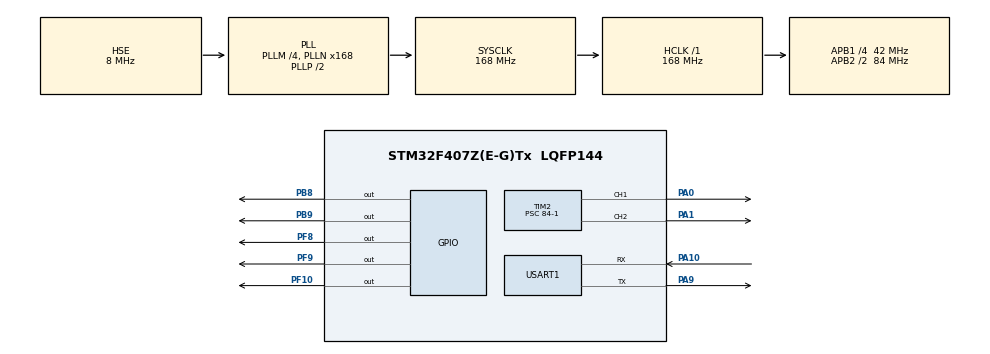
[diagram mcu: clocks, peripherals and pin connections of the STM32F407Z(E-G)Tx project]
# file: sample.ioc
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Mcu.Family=STM32F4
Mcu.Name=STM32F407Z(E-G)Tx
Mcu.Package=LQFP144
NVIC.PriorityGroup=NVIC_PRIORITYGROUP_4
NVIC.TIM3_IRQn=true\:0\:0\:true\:false\:true\:false\:true\:true\:true
NVIC.TIM4_IRQn=true\:15\:0\:false\:false\:true\:false\:false\:true\:true
NVIC.TimeBase=TIM4_IRQn
NVIC.TimeBaseIP=TIM4
NVIC.USART1_IRQn=true\:0\:0\:false\:false\:true\:false\:true\:true\:true
PA0-WKUP.Signal=S_TIM2_CH1_ETR
PA1.Signal=S_TIM2_CH2
PA10.Mode=Asynchronous
PA10.Signal=USART1_RX
PA13.Mode=Serial_Wire
PA13.Signal=SYS_JTMS-SWDIO
PA14.Mode=Serial_Wire
PA14.Signal=SYS_JTCK-SWCLK
PA9.Mode=Asynchronous
PA9.Signal=USART1_TX
PB8.Signal=GPIO_Output
PB9.Signal=GPIO_Output
PF10.Signal=GPIO_Output
PF8.Signal=GPIO_Output
PF9.Signal=GPIO_Output
PH0-OSC_IN.Mode=HSE-External-Oscillator
PH0-OSC_IN.Signal=RCC_OSC_IN
PH1-OSC_OUT.Mode=HSE-External-Oscillator
PH1-OSC_OUT.Signal=RCC_OSC_OUT
ProjectManager.HeapSize=0x200
ProjectManager.StackSize=0x400
ProjectManager.TargetToolchain=MDK-ARM V5.32
RCC.48MHZClocksFreq_Value=84000000
RCC.AHBFreq_Value=168000000
RCC.APB1CLKDivider=RCC_HCLK_DIV4
RCC.APB1Freq_Value=42000000
RCC.APB1TimFreq_Value=84000000
RCC.APB2CLKDivider=RCC_HCLK_DIV2
RCC.APB2Freq_Value=84000000
RCC.APB2TimFreq_Value=168000000
RCC.CortexFreq_Value=168000000
RCC.HCLKFreq_Value=168000000
RCC.HSE_VALUE=8000000
RCC.HSI_VALUE=16000000
RCC.LSE_VALUE=32768
RCC.PLLM=4
RCC.PLLN=168
RCC.PLLSourceVirtual=RCC_PLLSOURCE_HSE
RCC.SYSCLKFreq_VALUE=168000000
RCC.SYSCLKSource=RCC_SYSCLKSOURCE_PLLCLK
RCC.VCOOutputFreq_Value=336000000
RealThread.RT-Thread.3.1.5.RTOSJjkernel=true
RealThread.RT-Thread.3.1.5.RT_CONSOLEBUF_SIZE=160
RealThread.RT-Thread.3.1.5.RT_MAIN_THREAD_STACK_SIZE=2048
RealThread.RT-Thread.3.1.5.RT_NAME_MAX=16
RealThread.RT-Thread.3.1.5.RT_TIMER_THREAD_STACK_SIZE=1024
RealThread.RT-Thread.3.1.5.RT_USING_EVENT=1
RealThread.RT-Thread.3.1.5.RT_USING_HEAP=0
RealThread.RT-Thread.3.1.5.RT_USING_IDLE_HOOK=0
RealThread.RT-Thread.3.1.5.RT_USING_MAILBOX=1
RealThread.RT-Thread.3.1.5.RT_USING_MESSAGEQUEUE=1
RealThread.RT-Thread.3.1.5.RT_USING_MUTEX=1
RealThread.RT-Thread.3.1.5.RT_USING_SMALL_MEM=0
RealThread.RT-Thread.3.1.5.RT_USING_TINY_SIZE=0
SH.S_TIM2_CH1_ETR.0=TIM2_CH1,PWM Generation1 CH1
SH.S_TIM2_CH2.0=TIM2_CH2,PWM Generation2 CH2
TIM2.AutoReloadPreload=TIM_AUTORELOAD_PRELOAD_ENABLE
TIM2.Channel-PWM\ Generation1\ CH1=TIM_CHANNEL_1
TIM2.Channel-PWM\ Generation2\ CH2=TIM_CHANNEL_2
TIM2.Period=20000-1
TIM2.Prescaler=84-1
TIM3.AutoReloadPreload=TIM_AUTORELOAD_PRELOAD_ENABLE
TIM3.Period=10000-1
TIM3.Prescaler=168-1
USART1.VirtualMode=VM_ASYNC
VP_RealThread.RT-Thread_VS_RTOSJjkernel_3.1.5_3.1.5.Mode=RTOSJjkernel
VP_SYS_VS_tim4.Mode=TIM4
VP_TIM2_VS_ClockSourceINT.Mode=Internal
VP_TIM3_VS_ClockSourceINT.Mode=Internal
board=custom

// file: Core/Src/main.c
/* USER CODE BEGIN Header */
/**
  ******************************************************************************
  * @file           : main.c
  * @brief          : Main program body
  ******************************************************************************
  * @attention
  *
  * Copyright (c) 2024 STMicroelectronics.
  * All rights reserved.
  *
  * This software is licensed under terms that can be found in the LICENSE file
  * in the root directory of this software component.
  * If no LICENSE file comes with this software, it is provided AS-IS.
  *
  ******************************************************************************
  */
/* USER CODE END Header */
#include "main.h"
#include "tim.h"
#include "usart.h"
#include "gpio.h"

/* USER CODE BEGIN Includes */
#include "rtthread.h"
/* USER CODE END Includes */

void SystemClock_Config(void);

/* USER CODE BEGIN 0 */
uint8_t cmd;
uint8_t send_cmd;
/* USER CODE END 0 */

int main(void)
{

  /* MCU Configuration--------------------------------------------------------*/

  /* Reset of all peripherals, Initializes the Flash interface and the Systick. */
  HAL_Init();

  /* Configure the system clock */
  SystemClock_Config();

  /* Initialize all configured peripherals */
  MX_GPIO_Init();
  MX_USART1_UART_Init();
  MX_TIM2_Init();
  MX_TIM3_Init();
  /* USER CODE BEGIN 2 */
    APP_init();
    APPLY();
  /* USER CODE END 2 */

  /* Infinite loop */
  while (1)
  {

  }
}

void SystemClock_Config(void)
{
  RCC_OscInitTypeDef RCC_OscInitStruct = {0};
  RCC_ClkInitTypeDef RCC_ClkInitStruct = {0};

  /** Configure the main internal regulator output voltage
  */
  __HAL_RCC_PWR_CLK_ENABLE();
  __HAL_PWR_VOLTAGESCALING_CONFIG(PWR_REGULATOR_VOLTAGE_SCALE1);

  /** Initializes the RCC Oscillators according to the specified parameters
  * in the RCC_OscInitTypeDef structure.
  */
  RCC_OscInitStruct.OscillatorType = RCC_OSCILLATORTYPE_HSE;
  RCC_OscInitStruct.HSEState = RCC_HSE_ON;
  RCC_OscInitStruct.PLL.PLLState = RCC_PLL_ON;
  RCC_OscInitStruct.PLL.PLLSource = RCC_PLLSOURCE_HSE;
  RCC_OscInitStruct.PLL.PLLM = 4;
  RCC_OscInitStruct.PLL.PLLN = 168;
  RCC_OscInitStruct.PLL.PLLP = RCC_PLLP_DIV2;
  RCC_OscInitStruct.PLL.PLLQ = 4;
  if (HAL_RCC_OscConfig(&RCC_OscInitStruct) != HAL_OK)
  {
    Error_Handler();
  }

  /** Initializes the CPU, AHB and APB buses clocks
  */
  RCC_ClkInitStruct.ClockType = RCC_CLOCKTYPE_HCLK|RCC_CLOCKTYPE_SYSCLK
                              |RCC_CLOCKTYPE_PCLK1|RCC_CLOCKTYPE_PCLK2;
  RCC_ClkInitStruct.SYSCLKSource = RCC_SYSCLKSOURCE_PLLCLK;
  RCC_ClkInitStruct.AHBCLKDivider = RCC_SYSCLK_DIV1;
  RCC_ClkInitStruct.APB1CLKDivider = RCC_HCLK_DIV4;
  RCC_ClkInitStruct.APB2CLKDivider = RCC_HCLK_DIV2;

  if (HAL_RCC_ClockConfig(&RCC_ClkInitStruct, FLASH_LATENCY_5) != HAL_OK)
  {
    Error_Handler();
  }
}

/* USER CODE BEGIN 4 */
void HAL_UART_RxCpltCallback(UART_HandleTypeDef *huart)
{
	uint16_t Serial_RxData;
  if(huart->Instance==USART1){
		Serial_RxData=cmd;
#ifdef SERVO_DATA
      COM_Receive_SERVO(Serial_RxData);
#endif

#ifdef ROBOT_DATA
//		openmv_receive(Serial_RxData);
#endif
	}
	HAL_UART_Receive_IT(&huart1,(void *)&cmd, 1);
}
/* USER CODE END 4 */

void HAL_TIM_PeriodElapsedCallback(TIM_HandleTypeDef *htim)
{
  /* USER CODE BEGIN Callback 0 */
    static int i;

  /* USER CODE END Callback 0 */
  if (htim->Instance == TIM4) {
    HAL_IncTick();
  }
  /* USER CODE BEGIN Callback 1 */
  if (htim->Instance == TIM3  ) {

      i++;
    if(i>100){
      HAL_GPIO_TogglePin(GPIOF,GPIO_PIN_10);
      i=0;
    }
  }
  /* USER CODE END Callback 1 */
}

void Error_Handler(void)
{
  __disable_irq();
  while (1)
  {
  }
}
